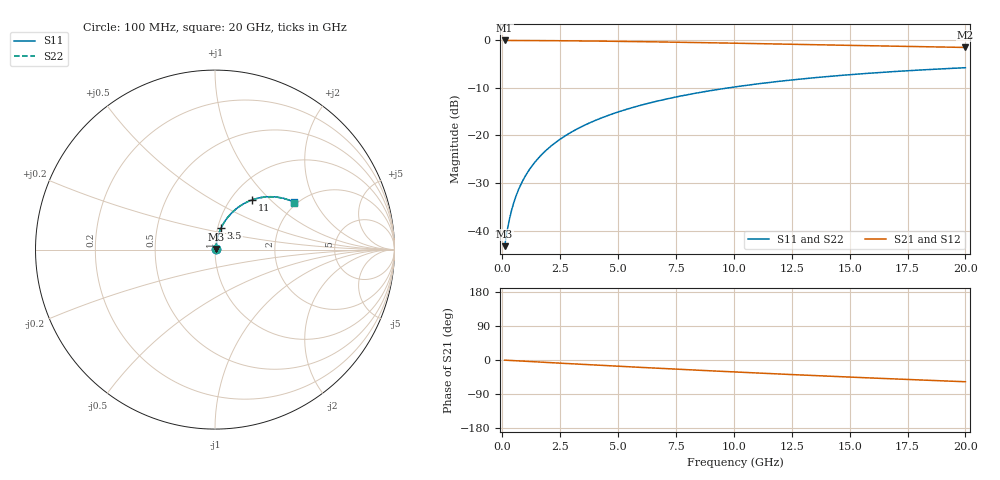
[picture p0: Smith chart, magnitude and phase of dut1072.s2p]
! Touchstone file exported from HFSS 2026.1.0
!  File:  C:/ffzhzh/LocalFiles/Ansys_Project_Files/temp_train_TMRDL_1072_1783160758_51560.aedt
!  Generated:  06:27:20 PM Jul  4, 2026
!  Design:  TMRDL
!  Project:  temp_train_TMRDL_1072_1783160758_51560
! Variables:
!  h_bsmrdl = 2um
!  h_ox = 20um
!  h_rdl = 5um
!  h_sub = 80um
!  h_tmrdl = 5.14um
!  h_tsv = 80um
!  h_via = 3um
!  l_bsmrdl = 300um
!  l_sub = 1306.14um
!  l_tmrdl = 906.14um
!  m_sub = 200um
!  pitch = 34.64um
!  r_tsv = 6um
!  s_tmrdl = 10um
!  w_bsmrdl = 18um
!  w_sub = 500um
!  w_tmrdl = 10.94um
!  x_tsv_center1 = 911.61um
!  x_tsv_center2 = 1229.61um
!  x_tsv_center3 = 2146.69um
!  x_tsv_center4 = 2464.69um
!  x_tsv_center5 = 3381.77um
!  x_tsv_center6 = 3699.77um
# GHz S MA R 50.000000
! Terminal data exported
! Port[1] = TM_RDL1_1_T1
! Port[2] = TM_RDL1_1_T2
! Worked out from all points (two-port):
!   200 points, 100 MHz to 20 GHz, reference 50 ohm
!   highest |S21| = -0.05 dB at 100 MHz (marker M1); lowest = -1.5 dB at 20 GHz (marker M2)
!   |S21| within 3 dB of the highest: start of sweep to end of sweep
!   lowest |S11| = -43.3 dB at 100 MHz (marker M3), VSWR 1.01, Z = 50.6 + j0.388 ohm
!   |S11| at or under -10 dB: start of sweep to 9.771 GHz
!   |S22| runs from -43.3 to -5.8 dB; largest |S21 - S12| = 1.7e-14
!   S11 on the Smith chart (normalised r, x): 100 MHz: 1.01, +0.01; 3.5 GHz: 1.04, +0.26; 11 GHz: 1.25, +0.79; 20 GHz: 1.93, +1.38
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0.1  0.006875 33.9  0.9943 -0.3  0.9943 -0.3  0.006875 33.9
! Gamma 0 0 0 0
! Port Impedance 50 0 50 0
0.2  0.009633 52.3  0.9942 -0.7  0.9942 -0.7  0.009633 52.3
0.3  0.0129 61.6  0.994 -1.0  0.994 -1.0  0.0129 61.6
0.4  0.01633 66.8  0.9938 -1.4  0.9938 -1.4  0.01633 66.8
0.5  0.01983 70.1  0.9936 -1.7  0.9936 -1.7  0.01983 70.1
0.6  0.02337 72.4  0.9935 -2.0  0.9935 -2.0  0.02337 72.4
0.8  0.0305 75.1  0.9931 -2.7  0.9931 -2.7  0.0305 75.1
1.1  0.04127 77.0  0.9925 -3.7  0.9925 -3.7  0.04128 77.0
1.3  0.04848 77.5  0.992 -4.4  0.992 -4.4  0.04848 77.5
1.6  0.05928 77.8  0.9912 -5.4  0.9912 -5.4  0.05928 77.7
2.1  0.0772 77.3  0.9895 -7.0  0.9895 -7.0  0.0772 77.3
2.7  0.09845 76.2  0.987 -9.0  0.987 -9.0  0.09846 76.2
3.5  0.1262 74.2  0.9828 -11.6  0.9828 -11.6  0.1263 74.2
4.2  0.15 72.3  0.9786 -13.9  0.9786 -13.9  0.15 72.3
5  0.1763 70.0  0.9733 -16.4  0.9733 -16.4  0.1763 70.0
6.8  0.2327 64.8  0.9594 -22.0  0.9594 -22.0  0.2327 64.7
8.3  0.2763 60.5  0.9466 -26.5  0.9466 -26.5  0.2764 60.5
10.1  0.3248 55.5  0.93 -31.7  0.93 -31.7  0.3248 55.4
11  0.3473 53.1  0.9215 -34.3  0.9215 -34.3  0.3474 53.0
13.4  0.4021 46.8  0.8984 -40.9  0.8984 -40.9  0.4022 46.7
16.7  0.465 38.5  0.8675 -49.4  0.8675 -49.4  0.465 38.4
20  0.5143 30.8  0.8397 -57.4  0.8397 -57.4  0.5144 30.6
